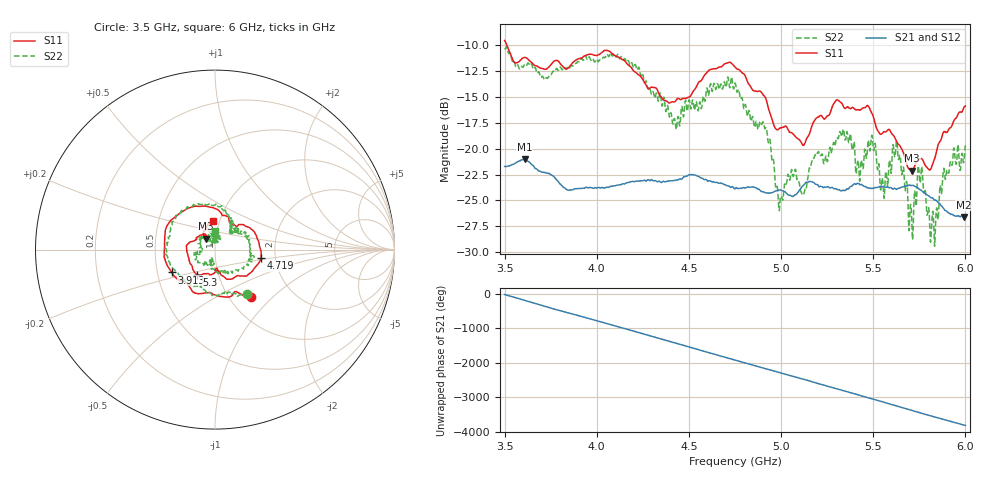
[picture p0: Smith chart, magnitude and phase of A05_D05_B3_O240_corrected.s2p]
! Created with skrf 1.9.0 (http://scikit-rf.org).
# Hz S RI R 50.0
!freq ReS11 ImS11 ReS21 ImS21 ReS12 ImS12 ReS22 ImS22
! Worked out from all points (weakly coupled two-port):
!   1601 points, 3.5 GHz to 6 GHz, reference 50 ohm
!   highest |S21| = -21.04 dB at 3.609 GHz (marker M1); lowest = -26.6 dB at 5.992 GHz (marker M2)
!   lowest |S11| = -22.1 dB at 5.711 GHz (marker M3), VSWR 1.17, Z = 44.9 + j5.44 ohm
!   |S11| at or under -10 dB: 3.512 GHz to end of sweep
!   |S22| runs from -29.4 to -10.2 dB; largest |S21 - S12| = 0.00099
!   S11 on the Smith chart (normalised r, x): 3.5 GHz: 1.26, -0.75; 3.913 GHz: 0.59, -0.16; 4.719 GHz: 1.68, -0.17; 5.3 GHz: 0.79, -0.23; 6 GHz: 0.93, +0.31
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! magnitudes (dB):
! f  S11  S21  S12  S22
! 3.5 GHz  -9.6  -21.7  -21.7  -10.3
! 3.609 GHz  -11.2  -21.0  -21.1  -11.9
! 3.913 GHz  -11.3  -23.8  -23.8  -11.5
! 3.917 GHz  -11.3  -23.8  -23.8  -11.3
! 4.142 GHz  -11.4  -23.4  -23.4  -11.4
! 4.334 GHz  -14.6  -23.2  -23.1  -15.4
! 4.439 GHz  -15.2  -23.0  -23.0  -17.0
! 4.719 GHz  -11.7  -23.6  -23.7  -13.9
! 4.75 GHz  -12.1  -23.9  -23.8  -13.7
! 4.912 GHz  -15.0  -24.2  -24.2  -18.1
! 4.997 GHz  -18.0  -24.0  -24.0  -24.7
! 5.167 GHz  -17.8  -23.2  -23.2  -21.2
! 5.3 GHz  -15.3  -23.9  -23.9  -19.0
! 5.5 GHz  -16.9  -23.8  -23.8  -20.0
! 5.584 GHz  -18.1  -23.8  -23.7  -21.7
! 5.634 GHz  -19.5  -23.8  -23.8  -20.8
! 5.711 GHz  -22.1  -23.5  -23.5  -28.0
! 5.755 GHz  -21.0  -24.0  -23.9  -23.3
! 5.823 GHz  -21.4  -24.8  -24.8  -26.0
! 5.889 GHz  -18.3  -26.0  -25.9  -22.8
! 5.992 GHz  -16.0  -26.6  -26.5  -21.2
! 6 GHz  -15.9  -26.6  -26.5  -19.7
